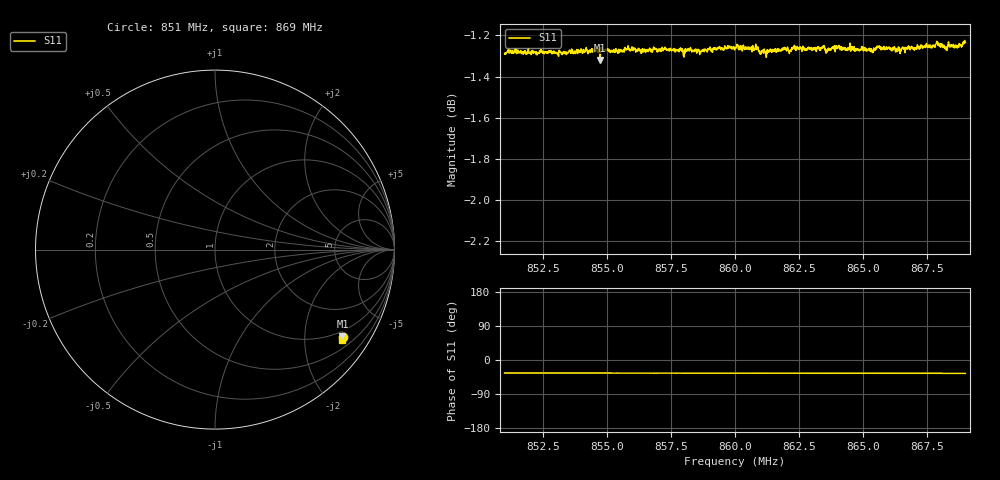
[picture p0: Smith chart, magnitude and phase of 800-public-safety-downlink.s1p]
! Calibrated averaged scanner-service zoom
# Hz S RI R 50
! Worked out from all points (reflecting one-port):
!   2001 points, 851 MHz to 869 MHz, reference 50 ohm
!   lowest |S11| = -1.3 dB at 854.74 MHz (marker M1), VSWR 13.20, Z = 41.1 - j152 ohm
!   phase of S11 starts at -34 deg and turns -1 deg over the sweep
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8.51e8  0.7123 -0.4856
8.51171e8  0.7136 -0.485
8.5325e8  0.7123 -0.4857
8.54735e8  0.7099 -0.484
8.555e8  0.7112 -0.4886
8.56877e8  0.7103 -0.4921
8.5775e8  0.7106 -0.4905
8.58605e8  0.7094 -0.4926
8.6e8  0.7102 -0.493
8.60801e8  0.7111 -0.4937
8.61251e8  0.7073 -0.4929
8.6225e8  0.7102 -0.4935
8.62574e8  0.7101 -0.4938
8.62808e8  0.7082 -0.4948
8.63087e8  0.7087 -0.495
8.6342e8  0.7087 -0.4956
8.6369e8  0.708 -0.4948
8.64014e8  0.7086 -0.4962
8.645e8  0.7092 -0.4951
8.65004e8  0.7083 -0.4953
8.65337e8  0.7079 -0.495
8.65625e8  0.7086 -0.4965
8.66363e8  0.7065 -0.4963
8.6675e8  0.708 -0.4961
8.67677e8  0.7083 -0.4971
8.67965e8  0.7091 -0.4984
8.68199e8  0.7071 -0.4975
8.69e8  0.7083 -0.5009
